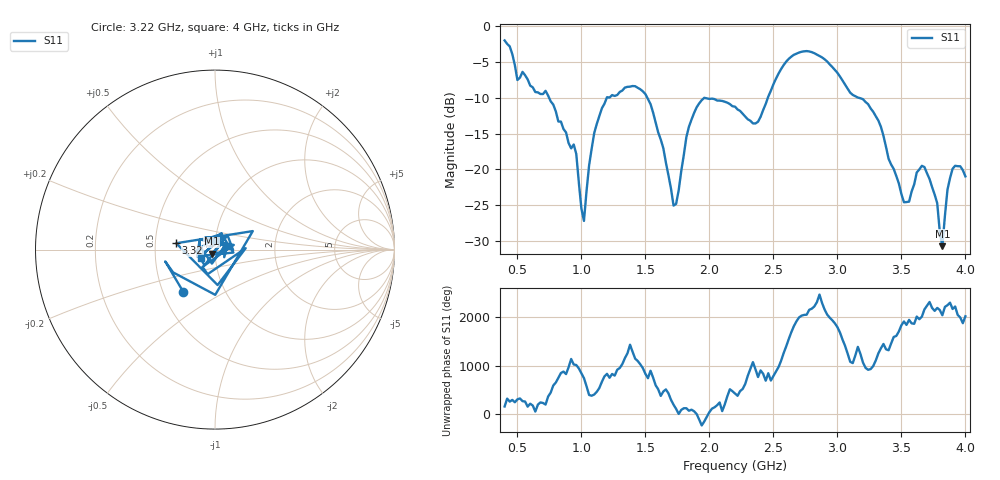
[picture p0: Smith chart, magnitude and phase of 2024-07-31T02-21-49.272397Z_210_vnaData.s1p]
!Created with skrf (http://scikit-rf.org).
# Hz S RI R 50.0
!freq ReS11 ImS11
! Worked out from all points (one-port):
!   181 points, 400 MHz to 4 GHz, reference 50 ohm
!   lowest |S11| = -30.7 dB at 3.82 GHz (marker M1), VSWR 1.06, Z = 48.1 - j2.16 ohm
!   |S11| at or under -10 dB: 747.2 MHz to 1.199 GHz (451.4 MHz wide, 46.4 % of centre); 1.515 GHz to 2.457 GHz (942.3 MHz wide, 47.5 % of centre); 3.164 GHz to end of sweep
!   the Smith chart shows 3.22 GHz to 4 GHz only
!   S11 on the Smith chart (normalised r, x): 3.22 GHz: 0.63, -0.33; 3.32 GHz: 0.64, +0.05; 4 GHz: 0.85, -0.08
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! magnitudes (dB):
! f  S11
! 400 MHz  -2.0
! 500 MHz  -7.5
! 720 MHz  -9.0
! 860 MHz  -14.4
! 960 MHz  -17.9
! 1.02 GHz  -27.2
! 1.1 GHz  -14.9
! 1.3 GHz  -9.2
! 1.5 GHz  -9.5
! 1.64 GHz  -17.0
! 1.72 GHz  -25.1
! 1.76 GHz  -22.9
! 1.82 GHz  -15.5
! 1.92 GHz  -10.8
! 2.2 GHz  -11.3
! 2.38 GHz  -13.4
! 2.66 GHz  -4.0
! 2.88 GHz  -4.4
! 3.1 GHz  -9.3
! 3.22 GHz  -10.6
! 3.32 GHz  -13.2
! 3.56 GHz  -24.5
! 3.68 GHz  -19.7
! 3.78 GHz  -24.7
! 3.82 GHz  -30.7
! 3.86 GHz  -22.8
! 3.9 GHz  -19.9
! 4 GHz  -21.0
